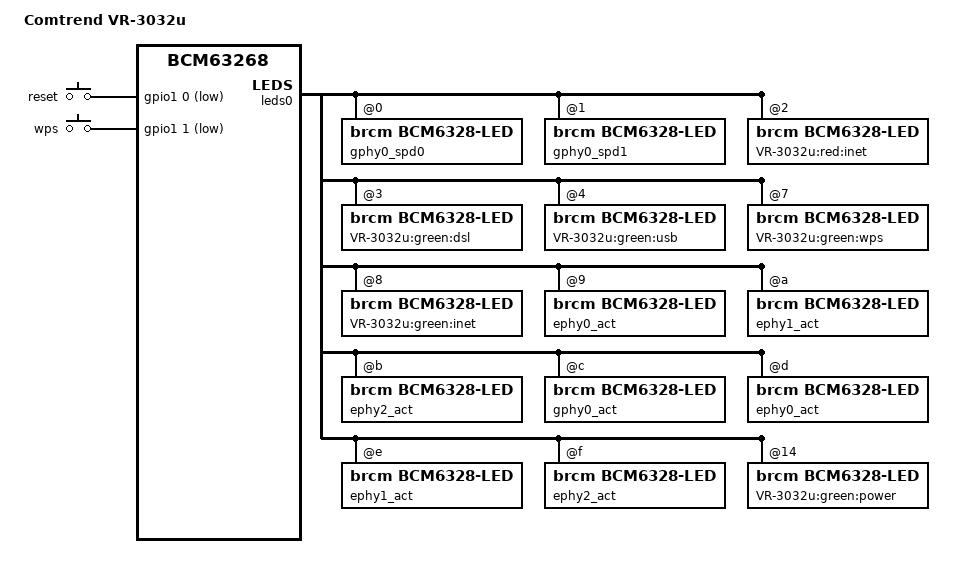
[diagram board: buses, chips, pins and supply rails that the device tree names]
/dts-v1/;

/include/ "bcm63268.dtsi"

/ {
	model = "Comtrend VR-3032u";
	compatible = "comtrend,vr-3032u", "brcm,bcm63268";

	gpio-keys-polled {
		compatible = "gpio-keys-polled";
		#address-cells = <1>;
		#size-cells = <0>;
		poll-interval = <20>;
		debounce-interval = <60>;

		reset {
			label = "reset";
			gpios = <&gpio1 0 1>;
			linux,code = <0x198>;
		};
		wps {
			label = "wps";
			gpios = <&gpio1 1 1>;
			linux,code = <0x211>;
		};
	};
};

&leds0 {
	status = "ok";
	brcm,serial-leds;

	gphy0_spd0@0 {
		compatible = "brcm,bcm6328-led";
		reg = <0>;
		brcm,hardware-controlled;
		brcm,link-selection = <0>;
	};
	gphy0_spd1@1 {
		compatible = "brcm,bcm6328-led";
		reg = <1>;
		brcm,hardware-controlled;
		brcm,link-selection = <1>;
	};
	inet_red@2 {
		compatible = "brcm,bcm6328-led";
		reg = <2>;
		active-low;
		label = "VR-3032u:red:inet";
	};
	dsl_green@3 {
		compatible = "brcm,bcm6328-led";
		reg = <3>;
		active-low;
		label = "VR-3032u:green:dsl";
	};
	usb_green@4 {
		compatible = "brcm,bcm6328-led";
		reg = <4>;
		active-low;
		label = "VR-3032u:green:usb";
	};
	wps_green@7 {
		compatible = "brcm,bcm6328-led";
		reg = <7>;
		active-low;
		label = "VR-3032u:green:wps";
	};
	inet_green@8 {
		compatible = "brcm,bcm6328-led";
		reg = <8>;
		active-low;
		label = "VR-3032u:green:inet";
	};
	ephy0_act@9 {
		compatible = "brcm,bcm6328-led";
		reg = <9>;
		brcm,hardware-controlled;
	};
	ephy1_act@10 {
		compatible = "brcm,bcm6328-led";
		reg = <10>;
		brcm,hardware-controlled;
	};
	ephy2_act@11 {
		compatible = "brcm,bcm6328-led";
		reg = <11>;
		brcm,hardware-controlled;
	};
	gphy0_act@12 {
		compatible = "brcm,bcm6328-led";
		reg = <12>;
		brcm,hardware-controlled;
	};
	ephy0_act@13 {
		compatible = "brcm,bcm6328-led";
		reg = <13>;
		brcm,hardware-controlled;
	};
	ephy1_act@14 {
		compatible = "brcm,bcm6328-led";
		reg = <14>;
		brcm,hardware-controlled;
	};
	ephy2_act@15 {
		compatible = "brcm,bcm6328-led";
		reg = <15>;
		brcm,hardware-controlled;
	};
	power_green@20 {
		compatible = "brcm,bcm6328-led";
		reg = <20>;
		active-low;
		label = "VR-3032u:green:power";
		default-state = "on";
	};
};
